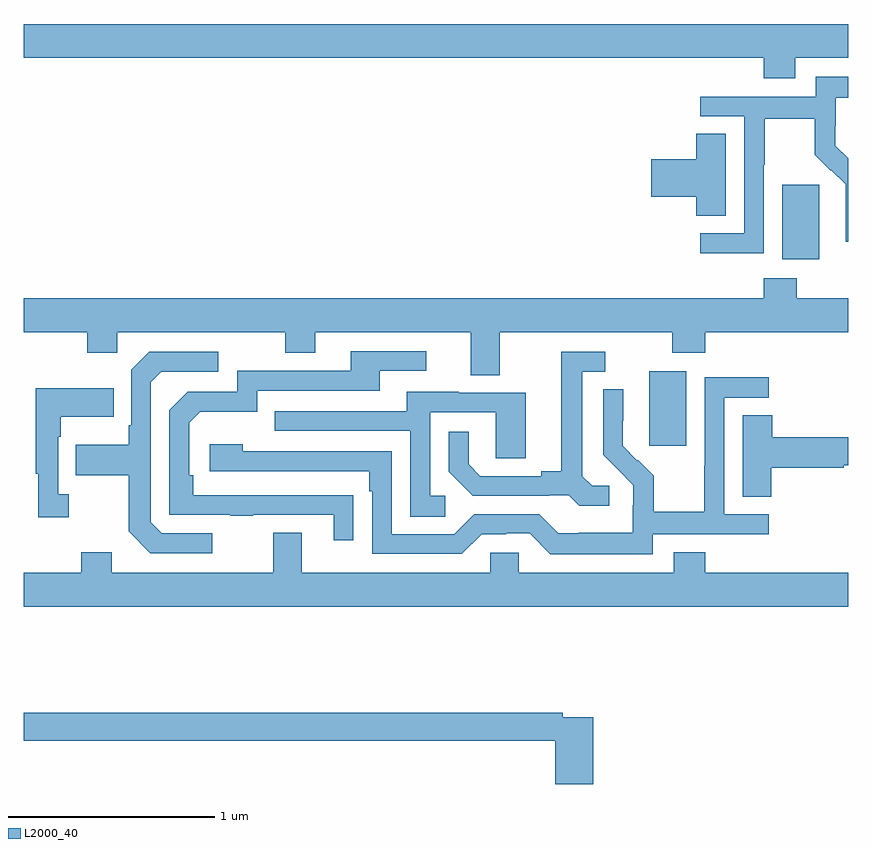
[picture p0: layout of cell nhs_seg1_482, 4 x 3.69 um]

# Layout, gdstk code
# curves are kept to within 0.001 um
import gdstk
lib = gdstk.Library(unit=1e-6, precision=1e-09)
def R(c, l, rs):  # rectangles x0, y0, x1, y1
    for r in rs: c.add(gdstk.rectangle(r[:2], r[2:], *l))
def P(c, l, *ps):  # polygons
    for p in ps: c.add(gdstk.Polygon(p, *l))
L2000_40 = (2000, 40)

nhs_seg1_482 = lib.new_cell('nhs_seg1_482')
R(nhs_seg1_482, L2000_40, [(140.036,557.841,140.215,558.202), (140.681,558.746,140.86,559.107)])
P(nhs_seg1_482, L2000_40, [(140.743,559.724),(141,559.724),(141,559.888),(137,559.888),(137,559.724),(140.591,559.724),(140.591,559.625),(140.743,559.625)],
  [(140.592,559.204),(140.595,559.204),(140.595,559.428),(140.839,559.428),(140.839,559.253),(140.916,559.176),(140.919,559.179),(140.99,559.109),(140.99,558.986),(140.988,558.986),(140.988,558.832),(141,558.832),(141,559.236),(140.938,559.298),(140.938,559.395),(140.94,559.395),(140.94,559.529),(141,559.529),(141,559.633),(140.844,559.633),(140.844,559.536),(140.283,559.536),(140.283,559.44),(140.496,559.44),(140.496,558.873),(140.283,558.873),(140.283,558.775),(140.592,558.775)],
  [(140.407,559.355),(140.264,559.355),(140.264,559.232),(140.046,559.232),(140.046,559.049),(140.264,559.049),(140.264,558.958),(140.407,558.958)],
  [(139.309,558.392),(140.146,558.392),(140.146,558.293),(140.306,558.293),(140.306,558.392),(141,558.392),(141,558.556),(140.751,558.556),(140.751,558.655),(140.591,558.655),(140.591,558.556),(137,558.556),(137,558.392),(137.308,558.392),(137.308,558.293),(137.454,558.293),(137.454,558.392),(138.268,558.392),(138.268,558.293),(138.415,558.293),(138.415,558.392),(139.169,558.392),(139.169,558.184),(139.309,558.184)],
  [(138.599,557.6),(137.822,557.601),(137.822,557.698),(137.802,557.698),(137.802,557.952),(137.855,558.005),(138.132,558.005),(138.132,558.108),(138.727,558.108),(138.727,558.204),(138.952,558.204),(138.952,558.3),(138.587,558.3),(138.587,558.204),(138.036,558.204),(138.036,558.102),(137.796,558.102),(137.706,558.012),(137.706,557.505),(138.001,557.505),(138.001,557.5),(138.113,557.5),(138.113,557.505),(138.503,557.505),(138.503,557.382),(138.599,557.382)],
  [(139.84,557.646),(139.758,557.646),(139.711,557.693),(139.711,558.201),(139.822,558.201),(139.822,558.297),(139.607,558.297),(139.607,557.717),(139.511,557.717),(139.511,557.694),(139.216,557.694),(139.159,557.751),(139.159,557.908),(139.062,557.908),(139.062,557.714),(139.178,557.598),(139.55,557.598),(139.55,557.601),(139.644,557.601),(139.696,557.549),(139.84,557.549)],
  [(137.914,557.415),(137.67,557.415),(137.616,557.469),(137.616,558.15),(137.667,558.201),(137.944,558.201),(137.944,558.297),(137.607,558.297),(137.52,558.21),(137.52,557.941),(137.508,557.941),(137.508,557.845),(137.251,557.845),(137.251,557.698),(137.508,557.698),(137.508,557.425),(137.613,557.319),(137.914,557.319)],
  [(140.052,557.412),(140.614,557.412),(140.614,557.508),(140.4,557.508),(140.4,558.075),(140.614,558.075),(140.614,558.174),(140.304,558.174),(140.304,557.744),(140.302,557.744),(140.302,557.521),(140.057,557.521),(140.057,557.695),(139.98,557.772),(139.977,557.769),(139.907,557.84),(139.908,558.116),(139.812,558.116),(139.812,557.798),(139.958,557.65),(139.958,557.553),(139.956,557.553),(139.956,557.419),(139.693,557.419),(139.693,557.415),(139.593,557.415),(139.5,557.508),(139.185,557.508),(139.089,557.412),(138.786,557.412),(138.786,557.814),(138.062,557.814),(138.062,557.848),(137.901,557.848),(137.901,557.718),(138.677,557.718),(138.677,557.621),(138.69,557.621),(138.69,557.316),(139.125,557.316),(139.221,557.412),(139.34,557.412),(139.34,557.415),(139.455,557.415),(139.555,557.315),(140.052,557.315)],
  [(137.218,557.606),(137.166,557.606),(137.166,557.885),(137.179,557.885),(137.179,557.981),(137.435,557.981),(137.435,558.121),(137.058,558.121),(137.058,557.705),(137.069,557.705),(137.069,557.493),(137.218,557.493)],
  [(139.045,557.598),(138.972,557.598),(138.972,558.003),(139.29,558.003),(139.29,557.779),(139.435,557.779),(139.435,558.099),(139.111,558.099),(139.111,558.103),(138.857,558.103),(138.857,558.009),(138.217,558.009),(138.217,557.913),(138.876,557.913),(138.876,557.497),(139.045,557.497)],
  [(140.628,557.735),(140.978,557.735),(140.978,557.747),(141,557.747),(141,557.882),(140.633,557.882),(140.633,557.99),(140.489,557.99),(140.489,557.593),(140.628,557.593)],
  [(141,557.224),(140.306,557.224),(140.306,557.323),(140.153,557.323),(140.153,557.224),(139.401,557.224),(139.401,557.322),(139.263,557.322),(139.263,557.224),(138.349,557.224),(138.349,557.419),(138.209,557.419),(138.209,557.224),(137.425,557.224),(137.425,557.323),(137.278,557.323),(137.278,557.224),(137,557.224),(137,557.06),(141,557.06)],
  [(139.763,556.524),(139.616,556.524),(139.616,556.544),(137,556.544),(137,556.408),(139.58,556.408),(139.58,556.199),(139.763,556.199)])

lib.write_gds('nhs_seg1_482.gds')
